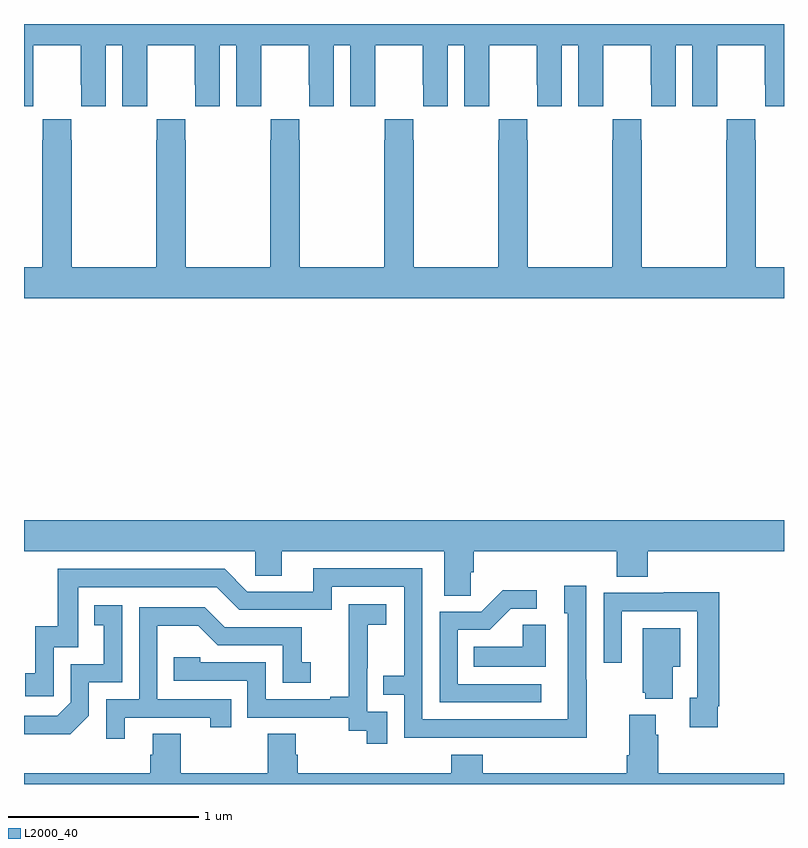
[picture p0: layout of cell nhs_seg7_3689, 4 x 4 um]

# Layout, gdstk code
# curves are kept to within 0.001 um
import gdstk
lib = gdstk.Library(unit=1e-6, precision=1e-09)
def P(c, l, *ps):  # polygons
    for p in ps: c.add(gdstk.Polygon(p, *l))
L2000_40 = (2000, 40)

nhs_seg7_3689 = lib.new_cell('nhs_seg7_3689')
P(nhs_seg7_3689, L2000_40, [(345,1061.568),(345.048,1061.568),(345.048,1061.68),(345.049,1061.68),(345.049,1061.888),(345.299,1061.888),(345.299,1061.68),(345.3,1061.68),(345.3,1061.568),(345.43,1061.568),(345.43,1061.888),(345.518,1061.888),(345.518,1061.568),(345.648,1061.568),(345.648,1061.68),(345.649,1061.68),(345.649,1061.888),(345.899,1061.888),(345.899,1061.68),(345.9,1061.68),(345.9,1061.568),(346.03,1061.568),(346.03,1061.888),(346.118,1061.888),(346.118,1061.568),(346.248,1061.568),(346.248,1061.68),(346.249,1061.68),(346.249,1061.888),(346.499,1061.888),(346.499,1061.68),(346.5,1061.68),(346.5,1061.568),(346.63,1061.568),(346.63,1061.888),(346.718,1061.888),(346.718,1061.568),(346.848,1061.568),(346.848,1061.68),(346.849,1061.68),(346.849,1061.888),(347.099,1061.888),(347.099,1061.68),(347.1,1061.68),(347.1,1061.568),(347.23,1061.568),(347.23,1061.888),(347.318,1061.888),(347.318,1061.568),(347.448,1061.568),(347.448,1061.68),(347.449,1061.68),(347.449,1061.888),(347.699,1061.888),(347.699,1061.68),(347.7,1061.68),(347.7,1061.568),(347.83,1061.568),(347.83,1061.888),(347.918,1061.888),(347.918,1061.568),(348.048,1061.568),(348.048,1061.68),(348.049,1061.68),(348.049,1061.888),(348.299,1061.888),(348.299,1061.68),(348.3,1061.68),(348.3,1061.568),(348.43,1061.568),(348.43,1061.888),(348.518,1061.888),(348.518,1061.568),(348.648,1061.568),(348.648,1061.68),(348.649,1061.68),(348.649,1061.888),(348.899,1061.888),(348.899,1061.68),(348.9,1061.68),(348.9,1061.568),(349,1061.568),(349,1062),(345,1062)],
  [(349,1060.72),(348.852,1060.72),(348.852,1061.387),(348.849,1061.387),(348.849,1061.5),(348.699,1061.5),(348.699,1061.387),(348.697,1061.387),(348.697,1060.72),(348.252,1060.72),(348.252,1061.387),(348.249,1061.387),(348.249,1061.5),(348.099,1061.5),(348.099,1061.387),(348.097,1061.387),(348.097,1060.72),(347.652,1060.72),(347.652,1061.387),(347.649,1061.387),(347.649,1061.5),(347.499,1061.5),(347.499,1061.387),(347.497,1061.387),(347.497,1060.72),(347.052,1060.72),(347.052,1061.387),(347.049,1061.387),(347.049,1061.5),(346.899,1061.5),(346.899,1061.387),(346.897,1061.387),(346.897,1060.72),(346.452,1060.72),(346.452,1061.387),(346.449,1061.387),(346.449,1061.5),(346.299,1061.5),(346.299,1061.387),(346.297,1061.387),(346.297,1060.72),(345.852,1060.72),(345.852,1061.387),(345.849,1061.387),(345.849,1061.5),(345.699,1061.5),(345.699,1061.387),(345.697,1061.387),(345.697,1060.72),(345.252,1060.72),(345.252,1061.387),(345.249,1061.387),(345.249,1061.5),(345.099,1061.5),(345.099,1061.387),(345.097,1061.387),(345.097,1060.72),(345,1060.72),(345,1060.556),(349,1060.556)],
  [(347.352,1059.115),(347.366,1059.115),(347.366,1059.224),(348.119,1059.224),(348.119,1059.091),(348.284,1059.091),(348.284,1059.224),(349,1059.224),(349,1059.388),(345,1059.388),(345,1059.224),(346.218,1059.224),(346.218,1059.097),(346.357,1059.097),(346.357,1059.224),(347.213,1059.224),(347.213,1058.992),(347.352,1058.992)],
  [(347.961,1058.549),(347.958,1058.549),(347.958,1059.043),(347.843,1059.043),(347.843,1058.898),(347.862,1058.898),(347.862,1058.34),(347.097,1058.34),(347.097,1059.135),(346.523,1059.135),(346.523,1059.012),(346.176,1059.012),(346.056,1059.132),(345.177,1059.132),(345.177,1058.83),(345.059,1058.83),(345.059,1058.583),(345.006,1058.583),(345.006,1058.463),(345.156,1058.463),(345.156,1058.721),(345.285,1058.721),(345.285,1059.036),(346.014,1059.036),(346.134,1058.916),(346.62,1058.916),(346.62,1059.039),(347.001,1059.039),(347.001,1058.57),(346.891,1058.57),(346.891,1058.469),(347.001,1058.469),(347.001,1058.244),(347.961,1058.243)],
  [(347.722,1058.526),(347.283,1058.526),(347.283,1058.811),(347.452,1058.811),(347.563,1058.922),(347.698,1058.922),(347.698,1059.02),(347.519,1059.02),(347.406,1058.907),(347.187,1058.907),(347.187,1058.43),(347.722,1058.43)],
  [(348.652,1058.41),(348.659,1058.41),(348.659,1059.008),(348.367,1059.008),(348.367,1059.006),(348.051,1059.006),(348.051,1058.637),(348.147,1058.637),(348.147,1058.91),(348.543,1058.91),(348.543,1058.454),(348.503,1058.454),(348.503,1058.298),(348.652,1058.298)],
  [(346.911,1058.379),(346.806,1058.379),(346.806,1058.609),(346.808,1058.609),(346.808,1058.837),(346.906,1058.837),(346.906,1058.947),(346.708,1058.947),(346.708,1058.741),(346.709,1058.741),(346.709,1058.458),(346.613,1058.458),(346.613,1058.445),(346.272,1058.445),(346.272,1058.64),(345.927,1058.64),(345.927,1058.667),(345.787,1058.667),(345.787,1058.544),(346.176,1058.544),(346.176,1058.349),(346.71,1058.349),(346.71,1058.281),(346.803,1058.281),(346.803,1058.211),(346.911,1058.211)],
  [(345.342,1058.358),(345.342,1058.535),(345.516,1058.535),(345.516,1058.941),(345.37,1058.941),(345.37,1058.835),(345.419,1058.835),(345.419,1058.631),(345.246,1058.631),(345.246,1058.43),(345.174,1058.358),(345,1058.358),(345,1058.261),(345.244,1058.261)],
  [(345.529,1058.349),(345.98,1058.349),(345.98,1058.298),(346.091,1058.298),(346.091,1058.445),(345.702,1058.445),(345.702,1058.834),(345.916,1058.834),(346.02,1058.73),(346.362,1058.73),(346.362,1058.532),(346.51,1058.532),(346.51,1058.641),(346.461,1058.641),(346.461,1058.826),(346.057,1058.826),(345.952,1058.931),(345.606,1058.931),(345.606,1058.445),(345.432,1058.445),(345.432,1058.238),(345.529,1058.238)],
  [(347.746,1058.837),(347.625,1058.837),(347.625,1058.722),(347.368,1058.722),(347.368,1058.618),(347.746,1058.618)],
  [(348.415,1058.618),(348.454,1058.618),(348.454,1058.821),(348.257,1058.821),(348.257,1058.481),(348.269,1058.481),(348.269,1058.45),(348.415,1058.45)],
  [(349,1058.056),(348.338,1058.056),(348.338,1058.258),(348.325,1058.258),(348.325,1058.365),(348.185,1058.365),(348.185,1058.152),(348.173,1058.152),(348.173,1058.056),(347.414,1058.056),(347.414,1058.155),(347.249,1058.155),(347.249,1058.056),(346.442,1058.056),(346.442,1058.154),(346.429,1058.154),(346.429,1058.264),(346.282,1058.264),(346.282,1058.056),(345.825,1058.056),(345.825,1058.264),(345.677,1058.264),(345.677,1058.154),(345.665,1058.154),(345.665,1058.056),(345,1058.056),(345,1058),(349,1058)])

lib.write_gds('nhs_seg7_3689.gds')
